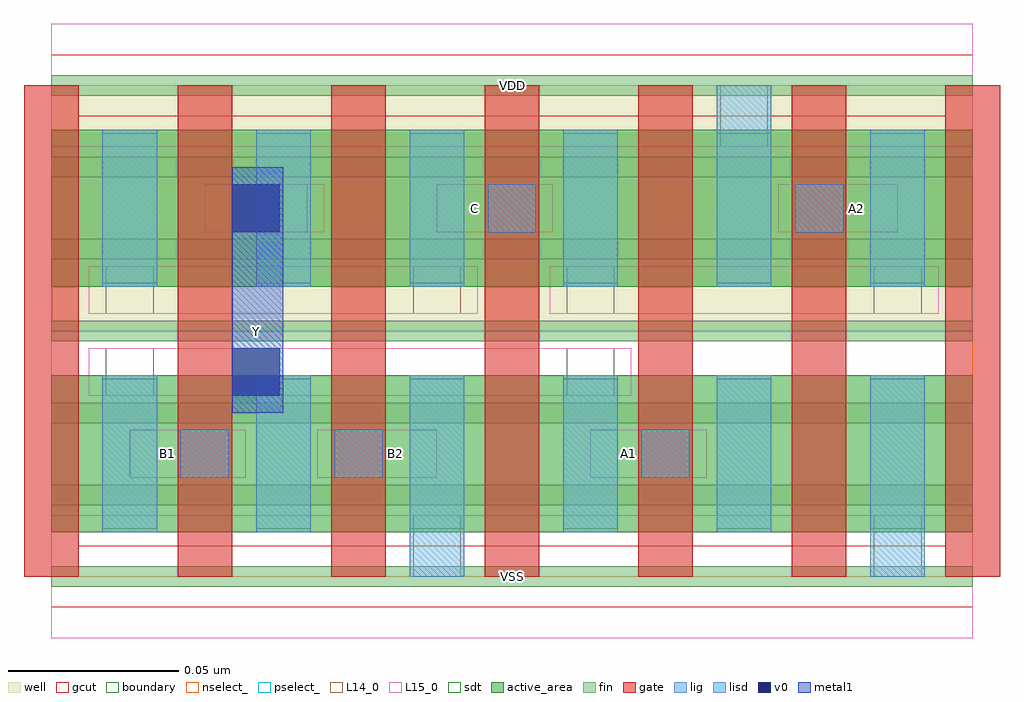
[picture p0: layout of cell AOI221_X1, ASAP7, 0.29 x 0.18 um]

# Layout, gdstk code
import gdstk
lib = gdstk.Library(unit=1e-6, precision=1e-09)
def R(c, l, rs):  # rectangles x0, y0, x1, y1
    for r in rs: c.add(gdstk.rectangle(r[:2], r[2:], *l))
def A(c, l, x, y, w, h, nx, ny, dx, dy):  # array of equal rectangles
    R(c, l, [(x+i*dx, y+j*dy, x+i*dx+w, y+j*dy+h) for i in range(nx) for j in range(ny)])
def P(c, l, *ps):  # polygons
    for p in ps: c.add(gdstk.Polygon(p, *l))
well = (1, 0)
fin = (2, 0)
gate = (7, 0)
gcut = (10, 0)
active_area = (11, 0)
nselect_ = (12, 0)
pselect_ = (13, 0)
L14_0 = (14, 0)
L15_0 = (15, 0)
lig = (16, 0)
lisd = (17, 0)
v0 = (18, 0)
metal1 = (19, 0)
sdt = (88, 0)
boundary = (100, 0)

aoi221_x1 = lib.new_cell('AOI221_X1')
R(aoi221_x1, well, [(0,0.072,0.27,0.144)])
A(aoi221_x1, fin, 0, -0.003, 0.27, 0.006, 1, 7, 0, 0.024)
A(aoi221_x1, gate, -0.008, 0, 0.016, 0.144, 7, 1, 0.045, 0)
P(aoi221_x1, gcut, [(0,-0.009),(0,0),(-0.008,0),(-0.008,0.135),(0.008,0.135),(0.008,0.009),(0.262,0.009),(0.262,0.135),(-0.008,0.135),(-0.008,0.144),(0,0.144),(0,0.153),(0.27,0.153),(0.27,0.144),(0.278,0.144),(0.278,0),(0.27,0),(0.27,-0.009)])
R(aoi221_x1, active_area, [(0,0.013,0.27,0.059), (0,0.085,0.27,0.131)])
R(aoi221_x1, nselect_, [(0,0,0.27,0.072)])
R(aoi221_x1, pselect_, [(0,0.072,0.27,0.144)])
R(aoi221_x1, L14_0, [(0.106,0,0.12,0.018), (0.241,0,0.255,0.018), (0.038,0.029,0.052,0.043), (0.083,0.029,0.097,0.043), (0.173,0.029,0.187,0.043), (0.016,0.053,0.03,0.067), (0.151,0.053,0.165,0.067), (0.016,0.077,0.03,0.091), (0.106,0.077,0.12,0.091), (0.151,0.077,0.165,0.091), (0.241,0.077,0.255,0.091), (0.061,0.101,0.075,0.115), (0.128,0.101,0.142,0.115), (0.218,0.101,0.232,0.115), (0.196,0.126,0.21,0.144)])
R(aoi221_x1, L15_0, [(0,-0.018,0.27,0.018), (0.023,0.029,0.057,0.043), (0.078,0.029,0.113,0.043), (0.158,0.029,0.192,0.043), (0.011,0.053,0.17,0.067), (0.011,0.077,0.125,0.091), (0.146,0.077,0.26,0.091), (0.045,0.101,0.08,0.115), (0.113,0.101,0.147,0.115), (0.213,0.101,0.248,0.115), (0,0.126,0.27,0.162)])
R(aoi221_x1, lig, [(0.038,0.029,0.052,0.043), (0.083,0.029,0.097,0.043), (0.173,0.029,0.187,0.043), (0.128,0.101,0.142,0.115), (0.218,0.101,0.232,0.115)])
A(aoi221_x1, lisd, 0.015, 0.085, 0.016, 0.046, 4, 1, 0.045, 0)
R(aoi221_x1, lisd, [(0.105,0,0.121,0.059), (0.24,0,0.256,0.059), (0.015,0.013,0.031,0.059), (0.06,0.013,0.076,0.059), (0.15,0.013,0.166,0.059), (0.195,0.013,0.211,0.059), (0.195,0.085,0.211,0.144), (0.24,0.085,0.256,0.131)])
R(aoi221_x1, v0, [(0.053,0.053,0.067,0.067), (0.053,0.101,0.067,0.115)])
R(aoi221_x1, metal1, [(0.053,0.048,0.068,0.12)])
A(aoi221_x1, sdt, 0.015, 0.014, 0.016, 0.044, 6, 2, 0.045, 0.072)
R(aoi221_x1, boundary, [(0,0,0.27,0.144)])
aoi221_x1.add(gdstk.Label('VSS', (0.135,0), layer=15, texttype=251))
aoi221_x1.add(gdstk.Label('VDD', (0.135,0.144), layer=15, texttype=251))
aoi221_x1.add(gdstk.Label('B1', (0.034,0.036), layer=15, texttype=251))
aoi221_x1.add(gdstk.Label('VSS', (0.135,0), layer=15, texttype=251))
aoi221_x1.add(gdstk.Label('VDD', (0.135,0.144), layer=15, texttype=251))
aoi221_x1.add(gdstk.Label('A1', (0.169,0.036), layer=15, texttype=251))
aoi221_x1.add(gdstk.Label('VSS', (0.135,0), layer=15, texttype=251))
aoi221_x1.add(gdstk.Label('VDD', (0.135,0.144), layer=15, texttype=251))
aoi221_x1.add(gdstk.Label('C', (0.124,0.108), layer=15, texttype=251))
aoi221_x1.add(gdstk.Label('VSS', (0.135,0), layer=15, texttype=251))
aoi221_x1.add(gdstk.Label('VDD', (0.135,0.144), layer=15, texttype=251))
aoi221_x1.add(gdstk.Label('B2', (0.101,0.036), layer=15, texttype=251))
aoi221_x1.add(gdstk.Label('VSS', (0.135,0), layer=15, texttype=251))
aoi221_x1.add(gdstk.Label('VDD', (0.135,0.144), layer=15, texttype=251))
aoi221_x1.add(gdstk.Label('A2', (0.236,0.108), layer=15, texttype=251))
aoi221_x1.add(gdstk.Label('VSS', (0.135,0), layer=15, texttype=251))
aoi221_x1.add(gdstk.Label('VDD', (0.135,0.144), layer=15, texttype=251))
aoi221_x1.add(gdstk.Label('VSS', (0.135,0), layer=3, texttype=251))
aoi221_x1.add(gdstk.Label('VSS', (0.135,0), layer=3, texttype=251))
aoi221_x1.add(gdstk.Label('VSS', (0.135,0), layer=3, texttype=251))
aoi221_x1.add(gdstk.Label('VSS', (0.135,0), layer=3, texttype=251))
aoi221_x1.add(gdstk.Label('VSS', (0.135,0), layer=3, texttype=251))
aoi221_x1.add(gdstk.Label('VSS', (0.135,0), layer=3, texttype=251))
aoi221_x1.add(gdstk.Label('VDD', (0.135,0.144), layer=1, texttype=251))
aoi221_x1.add(gdstk.Label('VDD', (0.135,0.144), layer=1, texttype=251))
aoi221_x1.add(gdstk.Label('VDD', (0.135,0.144), layer=1, texttype=251))
aoi221_x1.add(gdstk.Label('VDD', (0.135,0.144), layer=1, texttype=251))
aoi221_x1.add(gdstk.Label('VDD', (0.135,0.144), layer=1, texttype=251))
aoi221_x1.add(gdstk.Label('VDD', (0.135,0.144), layer=1, texttype=251))
aoi221_x1.add(gdstk.Label('Y', (0.06,0.072), layer=19, texttype=251))

lib.write_gds('AOI221_X1.gds')
